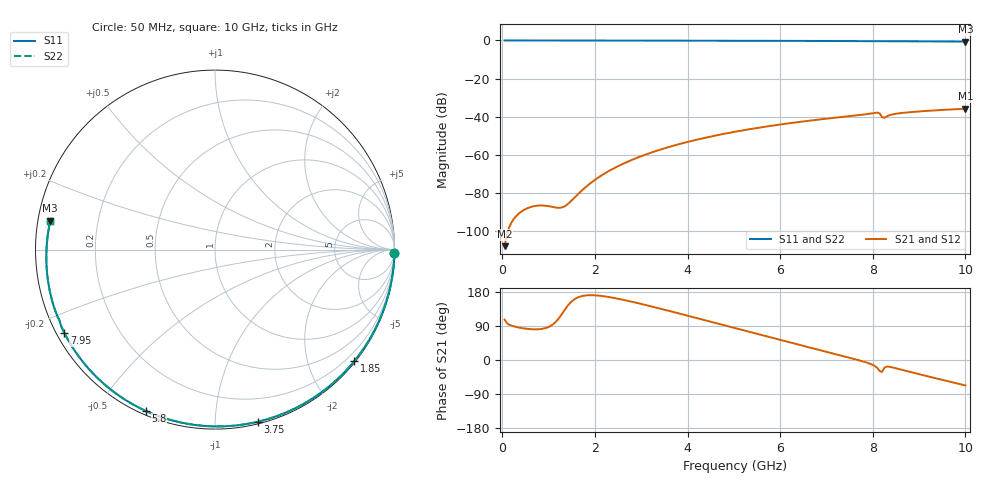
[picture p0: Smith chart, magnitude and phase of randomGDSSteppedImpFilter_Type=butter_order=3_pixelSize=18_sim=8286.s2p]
! freq	dB(S11)	phase(S11)	dB(S12)	phase(S12)
!  dB(S21)	phase(S21)	dB(S22)	phase(S22)
!S-par simulation data
#  GHz  S  DB  R 50
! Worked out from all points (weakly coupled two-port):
!   200 points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, 50 MHz to 10 GHz, reference 50 ohm
!   highest |S21| = -35.86 dB at 10 GHz (marker M1); lowest = -108.0 dB at 50 MHz (marker M2)
!   lowest |S11| = -0.6 dB at 10 GHz (marker M3), VSWR 28.21, Z = 1.79 + j4.34 ohm
!   |S11| at or under -10 dB: nowhere
!   |S22| runs from -0.6 to 0.0 dB; largest |S21 - S12| = 0
!   S11 on the Smith chart (normalised r, x): 50 MHz: open; 1.85 GHz: 0.03, -2.85; 3.75 GHz: 0.02, -1.28; 5.8 GHz: 0.02, -0.66; 7.95 GHz: 0.02, -0.26; 10 GHz: 0.04, +0.09
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0.05  -0.00 -1.1  -108.05 106.5  -108.05 106.5  -0.00 -1.1
0.8  -0.02 -17.0  -86.69 81.3  -86.69 81.3  -0.02 -17.0
1.65  -0.04 -34.6  -80.37 166.0  -80.37 166.0  -0.04 -34.6
1.75  -0.05 -36.7  -78.09 169.4  -78.09 169.4  -0.05 -36.7
1.85  -0.05 -38.7  -76.01 170.9  -76.01 170.9  -0.05 -38.7
2.15  -0.06 -44.8  -70.77 169.0  -70.77 169.0  -0.06 -44.8
2.5  -0.07 -51.8  -66.03 161.7  -66.03 161.7  -0.07 -51.8
2.9  -0.08 -59.7  -61.72 150.8  -61.72 150.8  -0.08 -59.7
3.4  -0.09 -69.4  -57.42 135.8  -57.42 135.8  -0.09 -69.3
3.75  -0.10 -76.0  -54.91 124.9  -54.91 124.9  -0.10 -76.0
5.05  -0.15 -99.9  -47.85 83.4  -47.85 83.4  -0.15 -99.9
5.8  -0.19 -113.2  -44.85 59.5  -44.85 59.5  -0.19 -113.2
6.7  -0.25 -129.0  -41.93 31.1  -41.93 31.1  -0.25 -129.0
7.95  -0.36 -151.0  -38.42 -10.3  -38.42 -10.3  -0.36 -151.0
8.1  -0.38 -153.8  -37.91 -21.4  -37.91 -21.4  -0.38 -153.8
8.15  -0.41 -154.7  -38.32 -29.4  -38.32 -29.4  -0.41 -154.7
8.2  -0.43 -155.5  -40.24 -31.4  -40.24 -31.4  -0.42 -155.5
8.25  -0.42 -156.3  -40.64 -20.7  -40.64 -20.7  -0.42 -156.3
8.35  -0.41 -158.1  -39.36 -17.6  -39.36 -17.6  -0.41 -158.1
8.6  -0.44 -162.7  -38.17 -25.0  -38.17 -25.0  -0.44 -162.7
9.2  -0.51 -174.0  -36.94 -43.5  -36.94 -43.5  -0.51 -174.0
10  -0.62 170.1  -35.86 -67.1  -35.86 -67.1  -0.62 170.1
